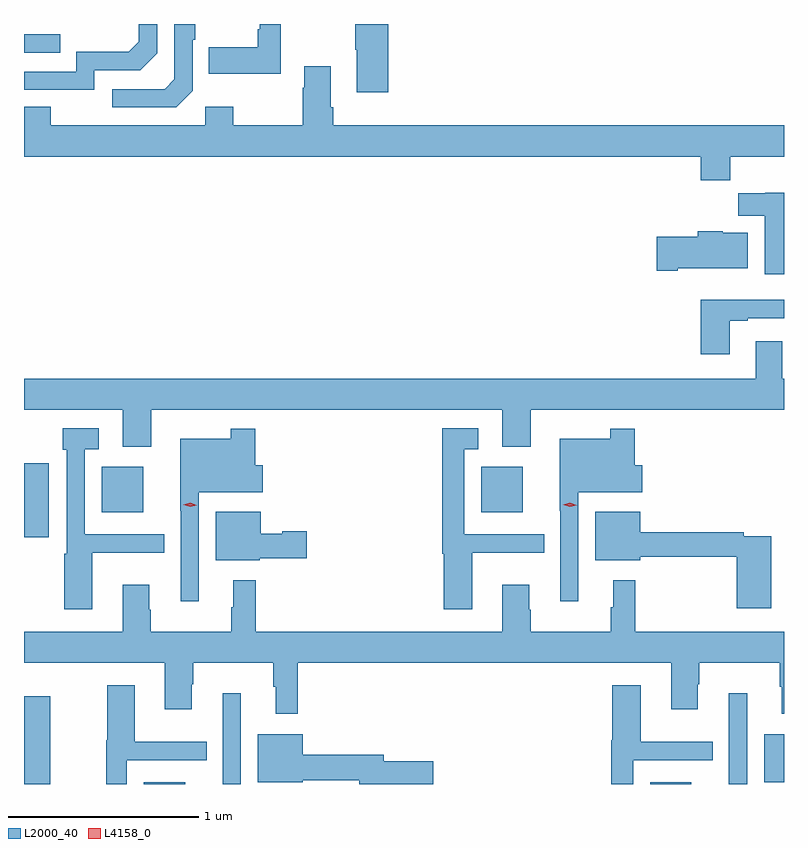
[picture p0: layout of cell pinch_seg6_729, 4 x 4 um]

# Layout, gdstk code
import gdstk
lib = gdstk.Library(unit=1e-6, precision=1e-09)
def R(c, l, rs):  # rectangles x0, y0, x1, y1
    for r in rs: c.add(gdstk.rectangle(r[:2], r[2:], *l))
def P(c, l, *ps):  # polygons
    for p in ps: c.add(gdstk.Polygon(p, *l))
L2000_40 = (2000, 40)
L4158_0 = (4158, 0)

pinch_seg6_729 = lib.new_cell('pinch_seg6_729')
R(pinch_seg6_729, L2000_40, [(505.237,944.034,505.374,944.497), (505.868,944.034,506.086,944.044), (508.532,944.034,508.75,944.044), (509.132,944.042,509.237,944.296), (505.237,945.333,505.366,945.721), (505.646,945.464,505.864,945.703), (507.644,945.464,507.862,945.703), (505.237,947.883,505.427,947.979)])
P(pinch_seg6_729, L2000_40, [(506.587,948.034),(506.478,948.034),(506.478,948.007),(506.466,948.007),(506.466,947.911),(506.209,947.911),(506.209,947.771),(506.587,947.771)],
  [(507.155,948.034),(506.98,948.034),(506.98,947.899),(506.987,947.899),(506.987,947.676),(507.155,947.676)],
  [(506.124,947.682),(506.124,947.951),(506.137,947.951),(506.137,948.034),(506.028,948.034),(506.028,947.742),(505.977,947.691),(505.701,947.691),(505.701,947.595),(506.037,947.595)],
  [(505.608,947.79),(505.848,947.79),(505.938,947.88),(505.938,948.034),(505.842,948.034),(505.842,947.94),(505.789,947.887),(505.512,947.887),(505.512,947.784),(505.237,947.784),(505.237,947.688),(505.608,947.688)],
  [(508.955,947.336),(509.237,947.336),(509.237,947.5),(506.864,947.5),(506.864,947.596),(506.851,947.596),(506.851,947.812),(506.711,947.812),(506.711,947.699),(506.704,947.699),(506.704,947.5),(506.337,947.5),(506.337,947.599),(506.19,947.599),(506.19,947.5),(505.377,947.5),(505.377,947.599),(505.237,947.599),(505.237,947.336),(508.799,947.336),(508.799,947.212),(508.955,947.212)],
  [(509.237,947.146),(509.139,947.146),(509.139,947.143),(508.996,947.143),(508.996,947.024),(509.135,947.024),(509.135,946.718),(509.237,946.718)],
  [(508.678,946.748),(509.047,946.748),(509.047,946.936),(508.914,946.936),(508.914,946.942),(508.784,946.942),(508.784,946.914),(508.566,946.914),(508.566,946.736),(508.678,946.736)],
  [(508.951,946.473),(509.047,946.473),(509.047,946.485),(509.237,946.485),(509.237,946.582),(508.799,946.582),(508.799,946.296),(508.951,946.296)],
  [(505.906,946.004),(507.755,946.004),(507.755,945.81),(507.904,945.81),(507.904,946.004),(509.237,946.004),(509.237,946.168),(509.227,946.168),(509.227,946.363),(509.087,946.363),(509.087,946.168),(505.237,946.168),(505.237,946.004),(505.757,946.004),(505.757,945.81),(505.906,945.81)],
  [(507.595,945.251),(507.974,945.251),(507.974,945.348),(507.555,945.348),(507.555,945.797),(507.628,945.797),(507.628,945.907),(507.439,945.907),(507.439,945.245),(507.446,945.245),(507.446,944.955),(507.595,944.955)],
  [(505.597,945.251),(505.976,945.251),(505.976,945.348),(505.557,945.348),(505.557,945.797),(505.63,945.797),(505.63,945.907),(505.441,945.907),(505.441,945.794),(505.461,945.794),(505.461,945.245),(505.448,945.245),(505.448,944.955),(505.597,944.955)],
  [(508.155,945.569),(508.492,945.569),(508.492,945.711),(508.451,945.711),(508.451,945.904),(508.323,945.904),(508.323,945.85),(508.058,945.85),(508.058,945.473),(508.059,945.473),(508.059,944.997),(508.155,944.997)],
  [(506.157,945.569),(506.494,945.569),(506.494,945.711),(506.453,945.711),(506.453,945.904),(506.325,945.904),(506.325,945.85),(506.06,945.85),(506.06,945.473),(506.061,945.473),(506.061,944.997),(506.157,944.997)],
  [(506.478,945.223),(506.725,945.223),(506.725,945.365),(506.595,945.365),(506.595,945.352),(506.482,945.352),(506.482,945.466),(506.246,945.466),(506.246,945.212),(506.478,945.212)],
  [(509.171,945.339),(509.024,945.339),(509.024,945.359),(508.48,945.359),(508.48,945.466),(508.244,945.466),(508.244,945.212),(508.48,945.212),(508.48,945.231),(508.988,945.231),(508.988,944.958),(509.171,944.958)],
  [(506.678,944.672),(508.643,944.672),(508.643,944.427),(508.783,944.427),(508.783,944.558),(508.791,944.558),(508.791,944.672),(509.214,944.672),(509.214,944.546),(509.225,944.546),(509.225,944.403),(509.237,944.403),(509.237,944.836),(508.454,944.836),(508.454,945.106),(508.337,945.106),(508.337,944.963),(508.326,944.963),(508.326,944.836),(507.903,944.836),(507.903,944.951),(507.895,944.951),(507.895,945.082),(507.755,945.082),(507.755,944.836),(506.456,944.836),(506.456,945.106),(506.339,945.106),(506.339,944.963),(506.328,944.963),(506.328,944.836),(505.905,944.836),(505.905,944.951),(505.897,944.951),(505.897,945.082),(505.757,945.082),(505.757,944.836),(505.237,944.836),(505.237,944.672),(505.979,944.672),(505.979,944.427),(506.119,944.427),(506.119,944.558),(506.127,944.558),(506.127,944.672),(506.55,944.672),(506.55,944.546),(506.561,944.546),(506.561,944.403),(506.678,944.403)],
  [(508.443,944.16),(508.862,944.16),(508.862,944.257),(508.483,944.257),(508.483,944.554),(508.334,944.554),(508.334,944.263),(508.327,944.263),(508.327,944.034),(508.443,944.034)],
  [(505.779,944.16),(506.198,944.16),(506.198,944.257),(505.819,944.257),(505.819,944.554),(505.675,944.554),(505.675,944.263),(505.671,944.263),(505.671,944.034),(505.779,944.034)],
  [(509.043,944.512),(508.947,944.512),(508.947,944.035),(508.946,944.035),(508.946,944.034),(509.043,944.034)],
  [(506.379,944.512),(506.283,944.512),(506.283,944.035),(506.282,944.035),(506.282,944.034),(506.379,944.034)],
  [(507.391,944.153),(507.13,944.153),(507.13,944.189),(506.704,944.189),(506.704,944.296),(506.468,944.296),(506.468,944.042),(506.704,944.042),(506.704,944.053),(507.002,944.053),(507.002,944.034),(507.391,944.034)])
P(pinch_seg6_729, L4158_0, [(506.111,945.493),(506.076,945.504),(506.076,945.505),(506.076,945.505),(506.112,945.513),(506.147,945.501),(506.147,945.501),(506.147,945.501)],
  [(508.109,945.493),(508.074,945.504),(508.074,945.505),(508.074,945.505),(508.11,945.513),(508.145,945.501),(508.145,945.501),(508.145,945.501)])

lib.write_gds('pinch_seg6_729.gds')
